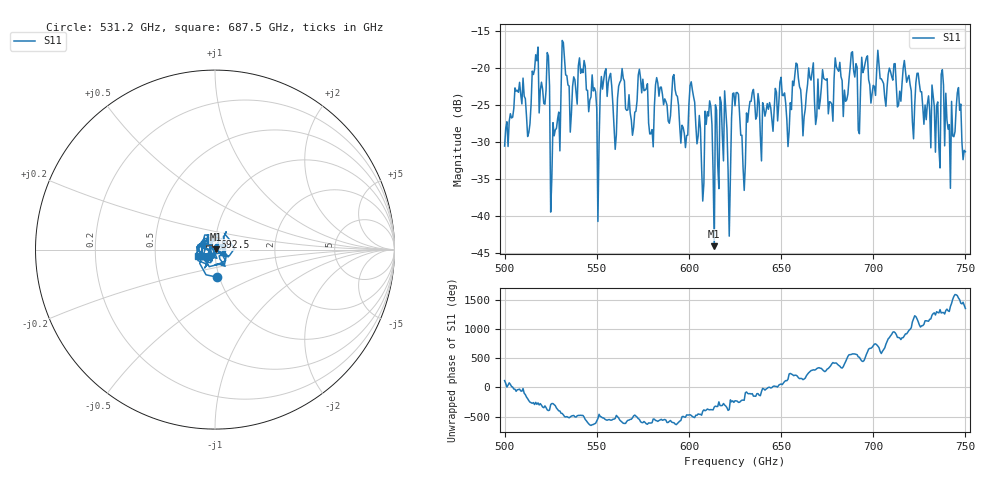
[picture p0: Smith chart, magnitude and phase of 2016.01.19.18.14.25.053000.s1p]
!Created with skrf (http://scikit-rf.org).
# GHz S RI R 50.0
!freq ReS11 ImS11
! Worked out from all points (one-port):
!   401 points, 500 GHz to 750 GHz, reference 50 ohm
!   lowest |S11| = -44.1 dB at 613.8 GHz (marker M1), VSWR 1.01, Z = 50.6 + j0.262 ohm
!   |S11| at or under -10 dB: start of sweep to end of sweep
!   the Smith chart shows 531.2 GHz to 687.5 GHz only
!   S11 on the Smith chart (normalised r, x): 531.2 GHz: 0.97, -0.31; 592.5 GHz: 0.98, +0.14; 687.5 GHz: 0.82, -0.06
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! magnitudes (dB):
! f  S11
! 500 GHz  -30.5
! 506.9 GHz  -23.0
! 513.1 GHz  -28.7
! 516.9 GHz  -18.2
! 523.1 GHz  -17.9
! 526.2 GHz  -27.4
! 531.2 GHz  -16.2
! 542.5 GHz  -20.6
! 550.6 GHz  -40.8
! 553.8 GHz  -21.6
! 560 GHz  -31.0
! 562.5 GHz  -21.9
! 573.8 GHz  -21.3
! 579.4 GHz  -28.9
! 592.5 GHz  -22.9
! 593.8 GHz  -23.8
! 613.8 GHz  -44.1
! 618.1 GHz  -29.2
! 621.9 GHz  -42.8
! 625 GHz  -25.1
! 629.4 GHz  -33.5
! 634.4 GHz  -23.3
! 656.2 GHz  -21.8
! 687.5 GHz  -19.8
! 718.8 GHz  -21.3
! 735 GHz  -24.6
! 746.2 GHz  -22.6
! 750 GHz  -31.3
